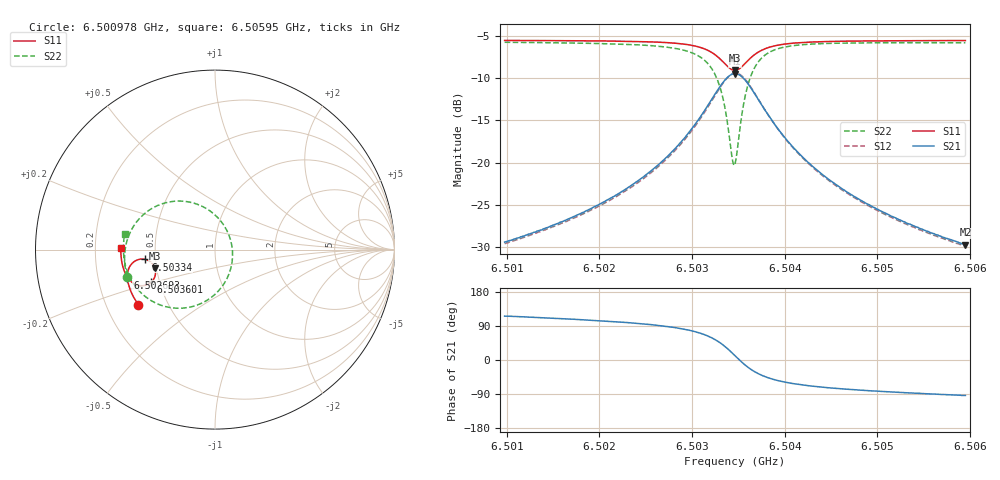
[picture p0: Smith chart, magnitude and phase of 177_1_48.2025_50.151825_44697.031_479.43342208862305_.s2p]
#  HZ  S  RI  R  50.00
! Rohde & Schwarz Vector Network Analyzer
! Rohde-Schwarz,ZNB20-2Port,1311601062101988,3.16
! Created: UTC 3/20/2024, 11:43:58 AM
! freq[Hz]  re:S11  im:S11  re:S21  im:S21  re:S12  im:S12  re:S22  im:S22
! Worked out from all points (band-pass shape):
!   401 points, 6.500978 GHz to 6.50595 GHz, reference 50 ohm
!   highest |S21| = -9.49 dB at 6.503464 GHz (marker M1); lowest = -29.7 dB at 6.50595 GHz (marker M2)
!   |S21| within 3 dB of the highest: 6.503215 GHz to 6.503712 GHz (497 kHz wide, 0.00764 % of centre)
!   lowest |S11| = -9.1 dB at 6.503464 GHz (marker M3), VSWR 2.08, Z = 24.5 - j5.88 ohm
!   |S11| at or under -10 dB: nowhere
!   |S22| runs from -20.3 to -5.8 dB; largest |S21 - S12| = 0.012
!   S11 on the Smith chart (normalised r, x): 6.500978 GHz: 0.34, -0.29; 6.502693 GHz: 0.33, -0.14; 6.50334 GHz: 0.44, -0.06; 6.503601 GHz: 0.45, -0.19; 6.50595 GHz: 0.31, +0.01
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6.5009777e9  -0.4275 -0.3075  -0.0147 0.0306  -0.0132 0.0305  -0.4908 -0.1514
6.5018107e9  -0.4631 -0.2456  -0.0141 0.0484  -0.0118 0.048  -0.5035 -0.0623
6.5022582e9  -0.4787 -0.2058  -0.0113 0.0673  -0.00822 0.0663  -0.5003 0.00177
6.5026436e9  -0.4878 -0.1629  -0.00189 0.0979  0.00176 0.0955  -0.4799 0.0794
6.5026933e9  -0.4882 -0.1563  0.000531 0.1037  0.00426 0.101  -0.4745 0.0922
6.5029668e9  -0.4831 -0.1126  0.0294 0.1477  0.0332 0.1431  -0.4145 0.1801
6.5031409e9  -0.4619 -0.0767  0.0824 0.1877  0.0849 0.1815  -0.3132 0.2483
6.5032528e9  -0.4286 -0.0562  0.153 0.2052  0.1536 0.1989  -0.1861 0.2701
6.5033398e9  -0.3874 -0.0549  0.234 0.1881  0.2341 0.1832  -0.0464 0.2278
6.5034268e9  -0.3449 -0.0836  0.3114 0.1143  0.3138 0.1095  0.0772 0.0817
6.5034517e9  -0.3371 -0.0976  0.3248 0.0825  0.3278 0.0772  0.0938 0.0222
6.5034641e9  -0.3343 -0.1052  0.329 0.0658  0.3322 0.06  0.0974 -0.00899
6.503489e9  -0.3314 -0.1214  0.3322 0.0314  0.3359 0.0243  0.0948 -0.0719
6.5035263e9  -0.3335 -0.1451  0.3248 -0.0183  0.3281 -0.0273  0.0675 -0.1597
6.5036009e9  -0.3557 -0.1816  0.2787 -0.0938  0.2782 -0.1052  -0.0419 -0.2811
6.5037127e9  -0.4008 -0.2013  0.1926 -0.1385  0.187 -0.1482  -0.2162 -0.3266
6.5038744e9  -0.4476 -0.1916  0.1096 -0.1347  0.1025 -0.1399  -0.3654 -0.2782
6.5040484e9  -0.4752 -0.1703  0.0645 -0.1142  0.0582 -0.1164  -0.4382 -0.2121
6.504297e9  -0.496 -0.1404  0.0342 -0.0892  0.0294 -0.0898  -0.4818 -0.1391
6.5047197e9  -0.513 -0.0963  0.0137 -0.0632  0.0103 -0.0628  -0.5057 -0.0555
6.50513e9  -0.521 -0.0583  0.00511 -0.0488  0.00274 -0.0481  -0.5106 0.00199
6.5059505e9  -0.526 0.0113  -0.00199 -0.0327  -0.0035 -0.0319  -0.5028 0.0896
